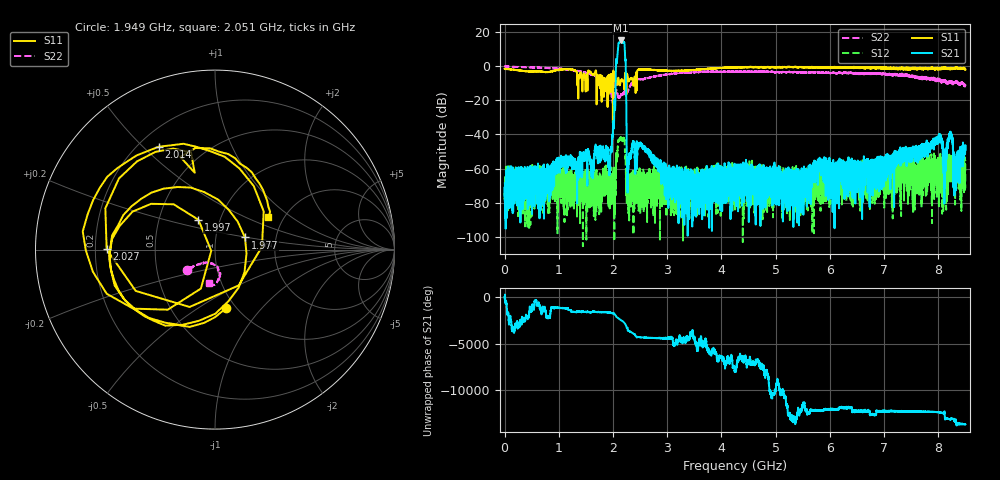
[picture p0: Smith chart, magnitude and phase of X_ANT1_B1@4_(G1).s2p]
#  HZ  S  RI  R  50.00
! Rohde & Schwarz Vector Network Analyzer
! Rohde-Schwarz,ZNBT8-20Port,1318700624101681,3.50
! Created: UTC 7/15/2025, 2:09:04 PM
! freq[Hz]  re:S1010  im:S1010  re:S0410  im:S0410  re:S1004  im:S1004  re:S44  im:S44
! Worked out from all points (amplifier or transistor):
!   8500 points, 1 MHz to 8.5 GHz, reference 50 ohm
!   highest |S21| = 15.1 dB at 2.144 GHz (marker M1)
!   |S21| within 3 dB of that: 2.095 GHz to 2.215 GHz (119.9 MHz wide, 5.56 % of centre)
!   unconditionally stable (mu >= 1): start of sweep to end of sweep
!   at 1.417 GHz: K = 266702.97, MAG = -50.7 dB, |S12| = -68.4 dB
!   at 4.251 GHz: K = 60754.01, MAG = -51.4 dB, |S12| = -61.8 dB
!   at 8.5 GHz: K = 20152.30, MAG = -41.8 dB, |S12| = -55.1 dB
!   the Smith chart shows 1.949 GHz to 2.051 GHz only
!   S11 on the Smith chart (normalised r, x): 1.949 GHz: 0.90, -0.66; 1.977 GHz: 1.39, +0.19; 1.997 GHz: 0.79, +0.27; 2.014 GHz: 0.28, +0.56; 2.027 GHz: 0.25, +0.00; 2.051 GHz: 1.67, +0.69
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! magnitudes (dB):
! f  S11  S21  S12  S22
! 1 MHz  -1.6  -75.7  -74.6  -0.3
! 1.418 GHz  -5.1  -58.9  -72.0  -3.3
! 1.949 GHz  -9.6  -55.5  -71.6  -14.4
! 1.977 GHz  -14.9  -49.3  -68.9  -18.1
! 1.997 GHz  -14.4  -40.1  -71.2  -21.4
! 2.014 GHz  -3.7  -35.4  -60.7  -19.0
! 2.027 GHz  -4.4  -19.7  -63.3  -15.8
! 2.051 GHz  -9.2  -6.7  -61.6  -14.5
! 2.144 GHz  -8.8  15.1  -42.1  -17.0
! 2.205 GHz  -10.9  13.8  -42.9  -15.3
! 2.293 GHz  -8.5  -52.7  -79.7  -13.2
! 2.509 GHz  -1.9  -45.9  -72.0  -7.6
! 2.834 GHz  -2.4  -59.9  -67.0  -5.6
! 3.493 GHz  -2.2  -70.5  -64.8  -3.6
! 4.251 GHz  -0.6  -63.0  -61.8  -3.1
! 5.667 GHz  -0.3  -59.8  -68.2  -3.6
! 7.084 GHz  -1.1  -52.3  -63.3  -4.7
! 8.018 GHz  -1.5  -43.7  -68.2  -8.4
! 8.125 GHz  -0.6  -55.2  -63.0  -8.8
! 8.223 GHz  -1.7  -39.7  -67.3  -8.7
! 8.321 GHz  -0.5  -55.3  -61.4  -9.4
! 8.5 GHz  -1.9  -46.6  -55.1  -11.3
